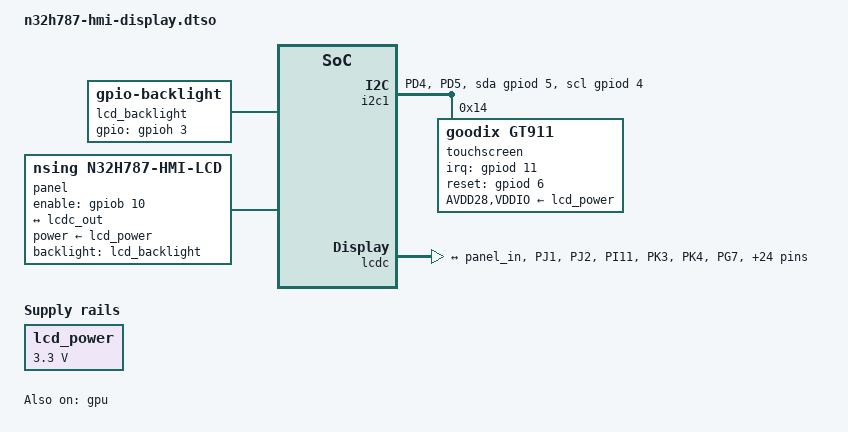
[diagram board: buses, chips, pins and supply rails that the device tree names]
// SPDX-License-Identifier: GPL-2.0-only

/dts-v1/;
/plugin/;

#include <dt-bindings/gpio/gpio.h>
#include <dt-bindings/interrupt-controller/irq.h>

&{/} {
	lcd_power: regulator-lcd {
		compatible = "regulator-fixed";
		regulator-name = "lcd-3v3";
		regulator-min-microvolt = <3300000>;
		regulator-max-microvolt = <3300000>;
	};

	lcd_backlight: backlight {
		compatible = "gpio-backlight";
		gpios = <&gpioh 3 GPIO_ACTIVE_HIGH>;
	};

	panel: panel {
		compatible = "nsing,n32h787-hmi-lcd", "panel-dpi";
		power-supply = <&lcd_power>;
		enable-gpios = <&gpiob 10 GPIO_ACTIVE_HIGH>;
		backlight = <&lcd_backlight>;
		/* NTW430T40X005A / ST7262: 25 MHz, 816 x 496 total. */
		panel-timing {
			clock-frequency = <25000000>;
			hactive = <800>;
			vactive = <480>;
			hsync-len = <4>;
			hback-porch = <8>;
			hfront-porch = <4>;
			vsync-len = <4>;
			vback-porch = <8>;
			vfront-porch = <4>;
			hsync-active = <0>;
			vsync-active = <0>;
			de-active = <0>;
			pixelclk-active = <1>;
		};
		port {
			panel_in: endpoint {
				remote-endpoint = <&lcdc_out>;
			};
		};
	};

	/* GT911 on a bit-banged I2C1 bus, numbered from its SoC pins. */
	i2c1: i2c1 {
		compatible = "i2c-gpio";
		#address-cells = <1>;
		#size-cells = <0>;
		pinctrl-names = "default";
		pinctrl-0 = <&i2c1_pins>;
		scl-gpios = <&gpiod 4 (GPIO_ACTIVE_HIGH | GPIO_OPEN_DRAIN)>;
		sda-gpios = <&gpiod 5 (GPIO_ACTIVE_HIGH | GPIO_OPEN_DRAIN)>;
		i2c-gpio,delay-us = <5>;

		touchscreen@14 {
			compatible = "goodix,gt911";
			reg = <0x14>;
			interrupt-parent = <&gpiod>;
			interrupts = <11 IRQ_TYPE_EDGE_FALLING>;
			pinctrl-names = "default";
			pinctrl-0 = <&touch_control_pins>;
			irq-gpios = <&gpiod 11 GPIO_ACTIVE_HIGH>;
			reset-gpios = <&gpiod 6 GPIO_ACTIVE_HIGH>;
			AVDD28-supply = <&lcd_power>;
			VDDIO-supply = <&lcd_power>;
			touchscreen-size-x = <800>;
			touchscreen-size-y = <480>;
			touchscreen-inverted-x;
			touchscreen-inverted-y;
			status = "okay";
		};
	};
};

&{/aliases} {
	i2c1 = "/i2c1";
};

&pinctrl {
	lcdc_pins: lcdc-pins {
		data-pins {
			pins = "PJ1", "PJ2", "PI11", "PK3", "PK4", "PG7", "PI12", "PI13", "PK7";
			function = "lcd";
			bias-pull-up;
			drive-strength = <2>;
			slew-rate = <0>;
		};
		tolerant-data-pins {
			pins = "PJ3", "PJ4", "PJ5", "PJ6", "PJ7", "PJ8", "PJ9", "PJ10", "PJ11", "PK0", "PD3", "PJ14", "PJ15", "PB9";
			function = "lcd";
			bias-pull-up;
			drive-strength = <1>;
			slew-rate = <0>;
		};
		lcd-r0-pins {
			pins = "PI15";
			function = "lcd_r0";
			bias-pull-up;
			drive-strength = <1>;
			slew-rate = <0>;
		};
		lcd-r1-pins {
			pins = "PJ0";
			function = "lcd_r1";
			bias-pull-up;
			drive-strength = <1>;
			slew-rate = <0>;
		};
		lcd-b0-pins {
			pins = "PJ12";
			function = "lcd_b0";
			bias-pull-up;
			drive-strength = <1>;
			slew-rate = <0>;
		};
		lcd-b1-pins {
			pins = "PJ13";
			function = "lcd_b1";
			bias-pull-up;
			drive-strength = <1>;
			slew-rate = <0>;
		};
		lcd-b6-pins {
			pins = "PA15";
			function = "lcd_b6";
			bias-pull-up;
			drive-strength = <1>;
			slew-rate = <0>;
		};
	};

	lcd_control_pins: lcd-control-pins {
		pins = "PB10", "PH3";
		bias-pull-up;
		drive-strength = <2>;
		slew-rate = <0>;
	};

	i2c1_pins: i2c1-pins {
		pins = "PD4", "PD5";
		function = "gpio";
		bias-pull-up;
		drive-strength = <3>;
		slew-rate = <0>;
	};

	touch_control_pins: touch-control-pins {
		pins = "PD6", "PD11";
		function = "gpio";
		bias-pull-up;
		drive-strength = <1>;
		slew-rate = <0>;
	};
};

&graphics_dma_pool {
	status = "okay";
};

&lcdc {
	pinctrl-names = "default";
	pinctrl-0 = <&lcdc_pins &lcd_control_pins>;
	memory-region = <&graphics_dma_pool>;
	nsing,flip-horizontal;
	nsing,flip-vertical;
	status = "okay";

	port {
		lcdc_out: endpoint {
			remote-endpoint = <&panel_in>;
		};
	};
};

&gpu {
	memory-region = <&graphics_dma_pool>;
	status = "okay";
};
